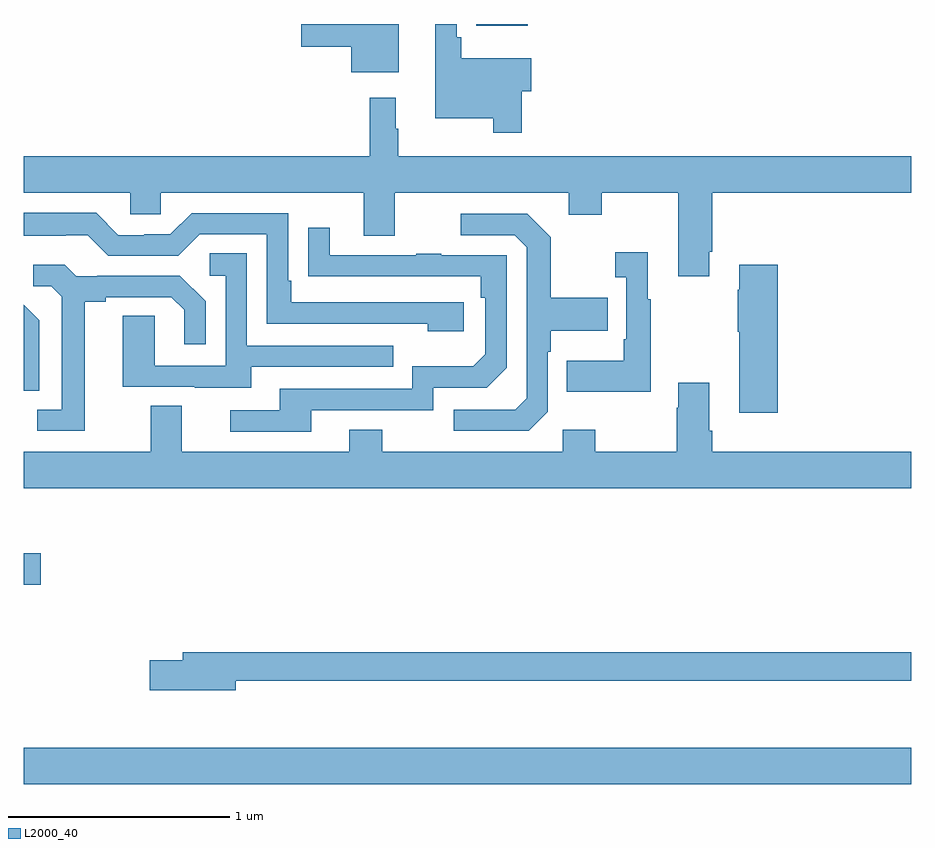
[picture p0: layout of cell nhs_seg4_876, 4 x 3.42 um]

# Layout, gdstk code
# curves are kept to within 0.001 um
import gdstk
lib = gdstk.Library(unit=1e-6, precision=1e-09)
def R(c, l, rs):  # rectangles x0, y0, x1, y1
    for r in rs: c.add(gdstk.rectangle(r[:2], r[2:], *l))
def P(c, l, *ps):  # polygons
    for p in ps: c.add(gdstk.Polygon(p, *l))
L2000_40 = (2000, 40)

nhs_seg4_876 = lib.new_cell('nhs_seg4_876')
R(nhs_seg4_876, L2000_40, [(155,807.476,159,807.64), (155,808.373,155.077,808.515), (157.04,810.893,157.272,810.9)])
P(nhs_seg4_876, L2000_40, [(156.691,810.9),(156.252,810.9),(156.252,810.797),(156.476,810.797),(156.476,810.683),(156.691,810.683)],
  [(157.244,810.598),(157.288,810.598),(157.288,810.745),(156.971,810.745),(156.971,810.841),(156.951,810.841),(156.951,810.9),(156.854,810.9),(156.854,810.476),(157.116,810.476),(157.116,810.411),(157.244,810.411)],
  [(158.089,809.875),(158.102,809.875),(158.102,810.14),(159,810.14),(159,810.304),(156.688,810.304),(156.688,810.428),(156.676,810.428),(156.676,810.568),(156.559,810.568),(156.559,810.304),(155,810.304),(155,810.14),(155.481,810.14),(155.481,810.042),(155.619,810.042),(155.619,810.14),(156.533,810.14),(156.533,809.946),(156.673,809.946),(156.673,810.14),(157.457,810.14),(157.457,810.041),(157.605,810.041),(157.605,810.14),(157.949,810.14),(157.949,809.763),(158.089,809.763)],
  [(156.982,809.646),(156.205,809.646),(156.205,809.743),(156.192,809.743),(156.192,810.048),(155.757,810.048),(155.661,809.952),(155.543,809.952),(155.543,809.949),(155.427,809.949),(155.327,810.049),(155,810.049),(155,809.945),(155.189,809.945),(155.189,809.949),(155.289,809.949),(155.382,809.856),(155.697,809.856),(155.793,809.952),(156.096,809.952),(156.096,809.55),(156.821,809.55),(156.821,809.516),(156.982,809.516)],
  [(157.362,809.154),(157.362,809.423),(157.375,809.423),(157.375,809.519),(157.631,809.519),(157.631,809.667),(157.375,809.667),(157.375,809.939),(157.269,810.045),(156.969,810.045),(156.969,809.949),(157.212,809.949),(157.266,809.895),(157.266,809.214),(157.215,809.163),(156.939,809.163),(156.939,809.067),(157.275,809.067)],
  [(156.295,809.16),(156.846,809.16),(156.846,809.262),(157.086,809.262),(157.176,809.352),(157.176,809.859),(156.881,809.859),(156.881,809.864),(156.769,809.864),(156.769,809.859),(156.379,809.859),(156.379,809.983),(156.283,809.983),(156.283,809.764),(157.06,809.763),(157.06,809.666),(157.08,809.666),(157.08,809.412),(157.027,809.359),(156.75,809.359),(156.75,809.256),(156.155,809.256),(156.155,809.16),(155.931,809.16),(155.931,809.064),(156.295,809.064)],
  [(157.825,809.659),(157.813,809.659),(157.813,809.872),(157.665,809.872),(157.665,809.759),(157.716,809.759),(157.716,809.479),(157.704,809.479),(157.704,809.383),(157.447,809.383),(157.447,809.243),(157.825,809.243)],
  [(156.025,809.355),(156.665,809.355),(156.665,809.451),(156.006,809.451),(156.006,809.867),(155.838,809.867),(155.838,809.766),(155.91,809.766),(155.91,809.361),(155.592,809.361),(155.592,809.585),(155.447,809.585),(155.447,809.265),(155.771,809.265),(155.771,809.261),(156.025,809.261)],
  [(155.275,809.648),(155.371,809.648),(155.371,809.67),(155.666,809.67),(155.723,809.613),(155.723,809.457),(155.82,809.457),(155.82,809.65),(155.704,809.766),(155.332,809.766),(155.332,809.763),(155.238,809.763),(155.186,809.815),(155.043,809.815),(155.043,809.718),(155.124,809.718),(155.171,809.671),(155.171,809.163),(155.061,809.163),(155.061,809.067),(155.275,809.067)],
  [(158.398,809.815),(158.225,809.815),(158.225,809.702),(158.218,809.702),(158.218,809.513),(158.225,809.513),(158.225,809.148),(158.398,809.148)],
  [(155.07,809.566),(155,809.636),(155,809.248),(155.07,809.248)],
  [(159,808.972),(158.102,808.972),(158.102,809.068),(158.089,809.068),(158.089,809.284),(157.949,809.284),(157.949,809.171),(157.942,809.171),(157.942,808.972),(157.575,808.972),(157.575,809.071),(157.428,809.071),(157.428,808.972),(156.615,808.972),(156.615,809.071),(156.467,809.071),(156.467,808.972),(155.713,808.972),(155.713,809.18),(155.573,809.18),(155.573,808.972),(155,808.972),(155,808.808),(159,808.808)],
  [(155.956,807.942),(159,807.942),(159,808.07),(155.717,808.07),(155.717,808.034),(155.568,808.034),(155.568,807.899),(155.956,807.899)])

lib.write_gds('nhs_seg4_876.gds')
